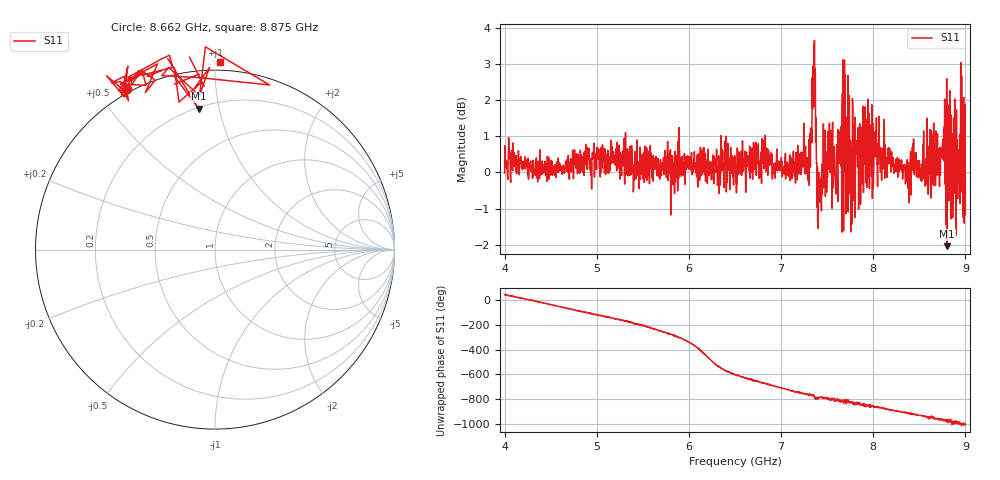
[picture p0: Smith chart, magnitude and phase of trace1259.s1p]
! Created with skrf 1.8.0 (http://scikit-rf.org).
# Hz S RI R 50.0
!freq ReS11 ImS11
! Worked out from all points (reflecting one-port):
!   1601 points, 4 GHz to 9 GHz, reference 50 ohm
!   lowest |S11| = -2.0 dB at 8.803 GHz (marker M1), VSWR 8.56, Z = 10.4 + j43.4 ohm
!   phase of S11 starts at 48 deg and turns -1054 deg over the sweep
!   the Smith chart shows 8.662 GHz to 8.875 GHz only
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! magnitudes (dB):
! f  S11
! 4 GHz  0.0
! 4.625 GHz  0.0
! 5.25 GHz  -0.2
! 5.875 GHz  0.5
! 6.412 GHz  0.5
! 6.5 GHz  0.1
! 6.725 GHz  0.4
! 7.125 GHz  0.2
! 7.294 GHz  -0.2
! 7.347 GHz  2.9
! 7.362 GHz  3.7
! 7.412 GHz  -0.7
! 7.525 GHz  1.4
! 7.591 GHz  -0.3
! 7.647 GHz  0.7
! 7.712 GHz  0.7
! 7.75 GHz  -0.6
! 7.769 GHz  -1.3
! 7.8 GHz  -1.2
! 7.928 GHz  1.5
! 8.375 GHz  -0.1
! 8.441 GHz  0.1
! 8.509 GHz  -0.1
! 8.759 GHz  0.4
! 8.803 GHz  -2.0
! 8.919 GHz  0.0
! 8.972 GHz  0.7
! 9 GHz  -1.2
